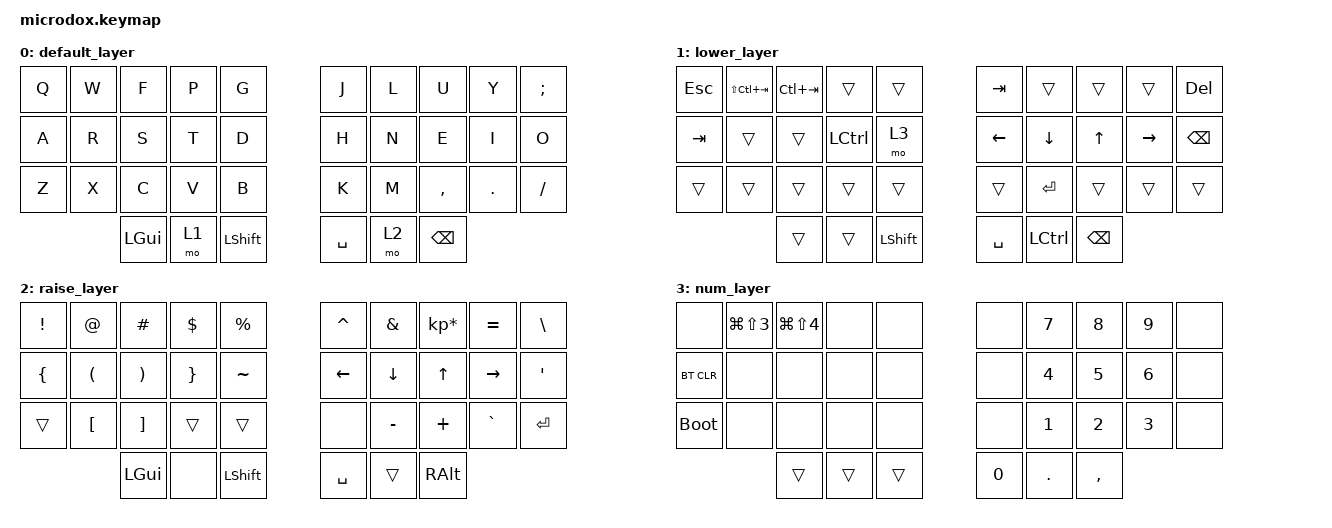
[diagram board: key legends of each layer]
/*
 * Copyright (c) 2020 The ZMK Contributors
 *
 * SPDX-License-Identifier: MIT
 */

#include <behaviors.dtsi>
#include <dt-bindings/zmk/keys.h>
#include <dt-bindings/zmk/bt.h>

/ {
    combos {
        compatible = "zmk,combos";
        combo_ctrl {
            timeout-ms = <50>;
            key-positions = <31 13>;
            bindings = <&kp LCTRL>;
        };
        combo_ctrl_sym {
            timeout-ms = <50>;
            key-positions = <31 34>;
            bindings = <&kp LCTRL>;
        };
        combo_alt_sym {
            timeout-ms = <50>;
            key-positions = <30 35>;
            bindings = <&kp LALT>;
        };
        combo_caps {
            timeout-ms = <50>;
            key-positions = <32 33>;
            bindings = <&kp CAPS>;
        };
    };
};

/ {
        keymap {
                compatible = "zmk,keymap";

                default_layer {
// -----------------------------------------------------------------------------------------
// |  Q  |  W  |  F  |  P  |  G  |||||  J  |  L  |  U  |  Y  |  ;  |
// |  A  |  R  |  S  |  T  |  D  |||||  H  |  N  |  E  |  I  |  O  |
// |  Z  |  X  |  C  |  V  |  B  |||||  K  |  M  |  ,  |  .  |  /  |
//             | GUI | LWR | SHFT||||| SPC | SYM | BSP |
                        bindings = <
   &kp Q &kp W &kp F &kp P &kp G   &kp J &kp L  &kp U     &kp Y   &kp SEMI
   &kp A &kp R &kp S &kp T &kp D   &kp H &kp N  &kp E     &kp I   &kp O
   &kp Z &kp X &kp C &kp V &kp B   &kp K &kp M  &kp COMMA &kp DOT &kp FSLH
          &kp LGUI &mo 1 &kp LSHFT &kp SPACE &mo 2 &kp BSPC
                        >;
                };

                lower_layer {
// -----------------------------------------------------------------------------------------
// | ESC | SCT |  CT |     |     ||||| TAB |     |     |     | DEL  |
// | TAB |VOL- |VOL+ | CTRL| NUM |||||  ←  |  ↓  |  ↑  |  →  | BKSP |
// |     |     |     |     |     |||||     | RET |     |     |      |
//             |     |     | SHFT||||| SPC | CTRL|     |
                        bindings = <
   &kp ESC      &kp LS(LC(TAB)) &kp LC(TAB)  &trans    &trans     &kp TAB   &trans    &trans   &trans    &kp DEL
   &kp TAB      &trans          &trans       &kp LCTRL &mo 3      &kp LEFT  &kp DOWN  &kp UP   &kp RIGHT &kp BSPC
   &trans       &trans          &trans       &trans    &trans     &trans    &kp RET   &trans   &trans    &trans
                                &trans       &trans    &kp LSHFT  &kp SPACE &kp LCTRL &kp BSPC
                        >;
                };

                raise_layer {
// -----------------------------------------------------------------------------------------
// |  !  |  @  |  #  |  $  |  %  |||||  ^  |  &  |  *  |  =  |  \  |
// |  {  |  (  |  )  |  }  |  ~  |||||  ←  |  ↓  |  ↑  |  →  |  '' |
// |     |  [  |  ]  |     |     |||||     |  -  |  +  |  `  | RET |
//             | GUI |     | SHF ||||| SPC |     | ALT |
                        bindings = <
   &kp EXCL  &kp AT    &kp HASH  &kp DLLR  &kp PRCNT   &kp CARET &kp AMPS  &kp KP_MULTIPLY &kp EQUAL &kp BSLH
   &kp LBRC  &kp LPAR  &kp RPAR  &kp RBRC  &kp TILDE   &kp LEFT  &kp DOWN  &kp UP          &kp RIGHT &kp SQT
   &trans    &kp LBKT  &kp RBKT  &trans    &trans      &none     &kp MINUS &kp PLUS        &kp GRAVE &kp RET
                       &kp LGUI  &none     &kp LSHFT   &kp SPACE &trans    &kp RALT
                        >;
                };

                num_layer {
// -----------------------------------------------------------------------------------------
// |     | SC 3| SC 4|     |     |||||     |  7  |  8  |  9  |     |
// |BTCLR|     |     |     |     |||||     |  4  |  5  |  6  |     |
// | BOOT|     |     |     |     |||||     |  1  |  2  |  3  |     |
//             |     |     |     |||||  0  |  .  |  ,  |
                        bindings = <
   &none        &kp LG(LS(N3)) &kp LG(LS(N4)) &none  &none     &none  &kp N7  &kp N8 &kp N9 &none
   &bt BT_CLR   &none          &none          &none  &none     &none  &kp N4  &kp N5 &kp N6 &none
   &bootloader  &none          &none          &none  &none     &none  &kp N1  &kp N2 &kp N3 &none
                                       &trans &trans &trans    &kp N0 &kp DOT &kp COMMA
                        >;
                };
        };
};
